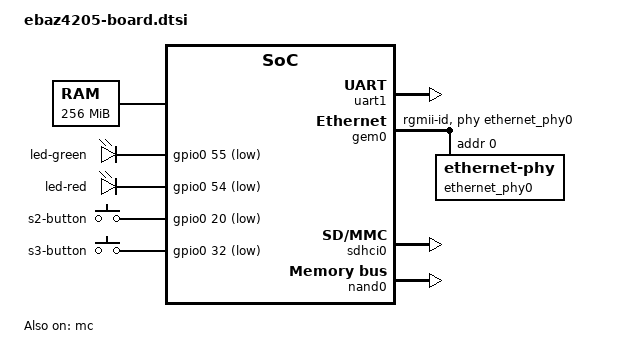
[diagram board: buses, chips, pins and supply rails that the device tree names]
/ {
        chosen {
                bootargs = "console=ttyPS0,115200 earlyprintk root=/dev/mmcblk0p2 rw";
                stdout-path = "serial0:115200n8";
        };

        aliases {
                ethernet0 = &gem0;
                serial0 = &uart1;
                mmc0 = &sdhci0;
        };

        memory@0 {
                device_type = "memory";
                reg = <0x0 0x10000000>;
        };

        leds {
                compatible = "gpio-leds";

		led-green {
                        label = "led-green";
			gpios = <&gpio0 55 1>;
			default-state = "off";
                        linux,default-trigger = "heartbeat";
		};
		led-red {
                        label = "led-red";
			gpios = <&gpio0 54 1>;
			default-state = "off";
		};
        };

        buttons {
                compatible = "gpio-keys-polled";
                poll-interval = <100>;

                s2-button {
                        gpios = <&gpio0 20 1>;
                        label = "s2-button";
                        default-state = "keep";
                        linux,code = <106>;
                        autorepeat;
                };
                s3-button {
                        gpios = <&gpio0 32 1>;
                        label = "s3-button";
                        default-state = "keep";
                        linux,code = <105>;
                        autorepeat;
                };
        };
};

&clkc {
       fclk-enable = <0xf>;
};

&uart1 {
       status = "okay";
};

&gem0 {
        status = "okay";
        phy-mode = "rgmii-id";
        phy-handle = <&ethernet_phy0>;

        ethernet_phy0: ethernet-phy@0 {
                reg = <0>;
        };
};

&sdhci0 {
        status = "okay";
};

&gpio0 {
        gpio-mask-low = <0x5600>;
};

&mc {
	status = "okay";
	nand0: flash@e1000000 {
                status = "okay";
                nand-ecc-mode = "none";
                nand-bus-width = <8>;
                partitions {
        		compatible = "fixed-partitions";
        		#address-cells = <1>;
        		#size-cells = <1>;
                
                        partition0: partition@0 {
        		         label = "partition0";
                                 reg = <0x0000000 0x1ffffff>;
                        };
                        partition1: partition@2000000 {
        		         label = "partition1";
                                 reg = <0x2000000 0x3ffffff>;
                        };
                        partition2: partition@4000000 {
        		         label = "partition2";
                                 reg = <0x4000000 0x5ffffff>;
                        };
                        partition3: partition@6000000 {
        		         label = "partition3";
                                 reg = <0x6000000 0x7ffffff>;
                        };
                };
        };
};
